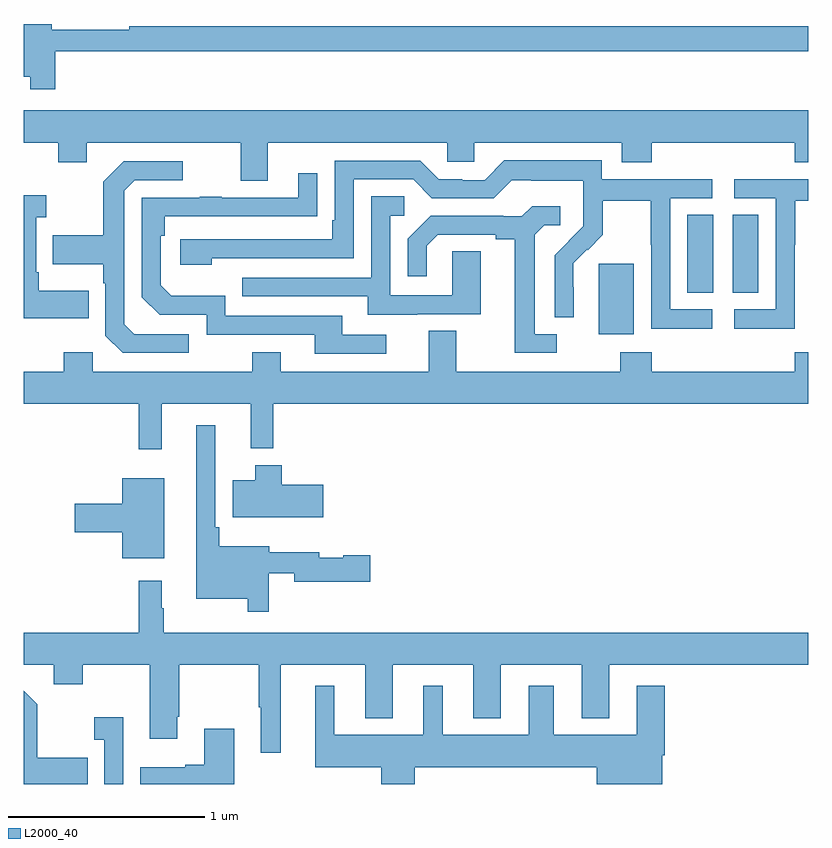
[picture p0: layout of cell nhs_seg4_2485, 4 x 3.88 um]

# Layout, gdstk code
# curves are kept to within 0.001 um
import gdstk
lib = gdstk.Library(unit=1e-6, precision=1e-09)
def R(c, l, rs):  # rectangles x0, y0, x1, y1
    for r in rs: c.add(gdstk.rectangle(r[:2], r[2:], *l))
def P(c, l, *ps):  # polygons
    for p in ps: c.add(gdstk.Polygon(p, *l))
L2000_40 = (2000, 40)

nhs_seg4_2485 = lib.new_cell('nhs_seg4_2485')
R(nhs_seg4_2485, L2000_40, [(243.932,777.194,244.111,777.555), (244.385,777.406,244.516,777.803), (244.616,777.406,244.747,777.803)])
P(nhs_seg4_2485, L2000_40, [(241.16,778.638),(245,778.638),(245,778.766),(241.537,778.766),(241.537,778.748),(241.141,778.748),(241.141,778.777),(241,778.777),(241,778.508),(241.032,778.508),(241.032,778.443),(241.16,778.443)],
  [(242.245,778.172),(243.159,778.172),(243.159,778.074),(243.297,778.074),(243.297,778.172),(244.049,778.172),(244.049,778.073),(244.202,778.073),(244.202,778.172),(244.931,778.172),(244.931,778.073),(245,778.073),(245,778.336),(241,778.336),(241,778.172),(241.174,778.172),(241.174,778.073),(241.321,778.073),(241.321,778.172),(242.105,778.172),(242.105,777.978),(242.245,777.978)],
  [(244.51,777.321),(244.296,777.321),(244.296,777.888),(244.51,777.888),(244.51,777.984),(243.948,777.984),(243.948,778.081),(243.451,778.081),(243.351,777.981),(243.236,777.981),(243.236,777.984),(243.117,777.984),(243.021,778.08),(242.586,778.08),(242.586,777.775),(242.573,777.775),(242.573,777.678),(241.797,777.678),(241.797,777.548),(241.958,777.548),(241.958,777.582),(242.682,777.582),(242.682,777.984),(242.985,777.984),(243.081,777.888),(243.396,777.888),(243.489,777.981),(243.589,777.981),(243.589,777.977),(243.852,777.977),(243.852,777.843),(243.854,777.843),(243.854,777.746),(243.708,777.598),(243.708,777.28),(243.804,777.28),(243.803,777.557),(243.873,777.627),(243.876,777.624),(243.953,777.701),(243.953,777.876),(244.198,777.876),(244.198,777.652),(244.2,777.652),(244.2,777.223),(244.51,777.223)],
  [(241.84,777.195),(241.563,777.195),(241.512,777.246),(241.512,777.927),(241.566,777.981),(241.81,777.981),(241.81,778.077),(241.509,778.077),(241.404,777.971),(241.404,777.699),(241.147,777.699),(241.147,777.551),(241.404,777.551),(241.404,777.455),(241.416,777.455),(241.416,777.186),(241.503,777.099),(241.84,777.099)],
  [(242.848,777.192),(242.623,777.192),(242.623,777.288),(242.028,777.288),(242.028,777.391),(241.751,777.391),(241.698,777.444),(241.698,777.698),(241.718,777.698),(241.718,777.795),(242.495,777.796),(242.495,778.015),(242.399,778.015),(242.399,777.891),(242.009,777.891),(242.009,777.896),(241.897,777.896),(241.897,777.891),(241.602,777.891),(241.602,777.384),(241.692,777.294),(241.932,777.294),(241.932,777.192),(242.483,777.192),(242.483,777.096),(242.848,777.096)],
  [(244.932,777.652),(244.935,777.652),(244.935,777.876),(245,777.876),(245,777.984),(244.623,777.984),(244.623,777.888),(244.836,777.888),(244.836,777.321),(244.623,777.321),(244.623,777.223),(244.932,777.223)],
  [(241.331,777.415),(241.075,777.415),(241.075,777.511),(241.062,777.511),(241.062,777.791),(241.114,777.791),(241.114,777.904),(241,777.904),(241,777.275),(241.331,777.275)],
  [(243.007,777.297),(243.331,777.297),(243.331,777.617),(243.186,777.617),(243.186,777.393),(242.868,777.393),(242.868,777.798),(242.941,777.798),(242.941,777.899),(242.772,777.899),(242.772,777.483),(242.113,777.483),(242.113,777.387),(242.753,777.387),(242.753,777.293),(243.007,777.293)],
  [(243.718,777.195),(243.607,777.195),(243.607,777.703),(243.654,777.75),(243.736,777.75),(243.736,777.847),(243.592,777.847),(243.54,777.795),(243.446,777.795),(243.446,777.798),(243.074,777.798),(242.958,777.682),(242.958,777.489),(243.055,777.489),(243.055,777.645),(243.112,777.702),(243.407,777.702),(243.407,777.68),(243.503,777.68),(243.503,777.099),(243.718,777.099)],
  [(241.703,776.84),(242.156,776.84),(242.156,776.612),(242.273,776.612),(242.273,776.84),(245,776.84),(245,777.103),(244.931,777.103),(244.931,777.004),(244.202,777.004),(244.202,777.103),(244.042,777.103),(244.042,777.004),(243.205,777.004),(243.205,777.212),(243.065,777.212),(243.065,777.004),(242.311,777.004),(242.311,777.103),(242.164,777.103),(242.164,777.004),(241.35,777.004),(241.35,777.103),(241.204,777.103),(241.204,777.004),(241,777.004),(241,776.84),(241.585,776.84),(241.585,776.607),(241.703,776.607)],
  [(242.25,775.974),(242.378,775.974),(242.378,775.931),(242.767,775.931),(242.767,776.066),(242.628,776.066),(242.628,776.053),(242.506,776.053),(242.506,776.083),(242.251,776.083),(242.251,776.113),(241.997,776.113),(241.997,776.209),(241.977,776.209),(241.977,776.731),(241.88,776.731),(241.88,775.844),(242.142,775.844),(242.142,775.779),(242.25,775.779)],
  [(242.527,776.427),(242.315,776.427),(242.315,776.527),(242.18,776.527),(242.18,776.449),(242.066,776.449),(242.066,776.261),(242.527,776.261)],
  [(241.717,776.461),(241.502,776.461),(241.502,776.33),(241.26,776.33),(241.26,776.183),(241.502,776.183),(241.502,776.051),(241.717,776.051)],
  [(242.311,775.508),(242.741,775.508),(242.741,775.235),(242.881,775.235),(242.881,775.508),(243.293,775.508),(243.293,775.235),(243.433,775.235),(243.433,775.508),(243.845,775.508),(243.845,775.235),(243.985,775.235),(243.985,775.508),(245,775.508),(245,775.672),(241.714,775.672),(241.714,775.796),(241.702,775.796),(241.702,775.936),(241.585,775.936),(241.585,775.672),(241,775.672),(241,775.508),(241.151,775.508),(241.151,775.409),(241.299,775.409),(241.299,775.508),(241.643,775.508),(241.643,775.131),(241.783,775.131),(241.783,775.243),(241.791,775.243),(241.791,775.508),(242.197,775.508),(242.197,775.292),(242.207,775.292),(242.207,775.059),(242.311,775.059)],
  [(242.993,774.986),(243.923,774.986),(243.923,774.9),(244.255,774.9),(244.255,775.046),(244.268,775.046),(244.268,775.402),(244.127,775.402),(244.127,775.15),(243.703,775.15),(243.703,775.402),(243.575,775.402),(243.575,775.15),(243.136,775.15),(243.136,775.402),(243.038,775.402),(243.038,775.15),(242.584,775.15),(242.584,775.402),(242.486,775.402),(242.486,774.986),(242.822,774.986),(242.822,774.9),(242.993,774.9)],
  [(241.325,775.035),(241.069,775.035),(241.069,775.307),(241,775.376),(241,774.9),(241.325,774.9)],
  [(241.506,775.24),(241.359,775.24),(241.359,775.127),(241.41,775.127),(241.41,774.9),(241.506,774.9)],
  [(242.074,775.183),(241.919,775.183),(241.919,774.998),(241.823,774.998),(241.823,774.985),(241.593,774.985),(241.593,774.9),(242.074,774.9)])

lib.write_gds('nhs_seg4_2485.gds')
